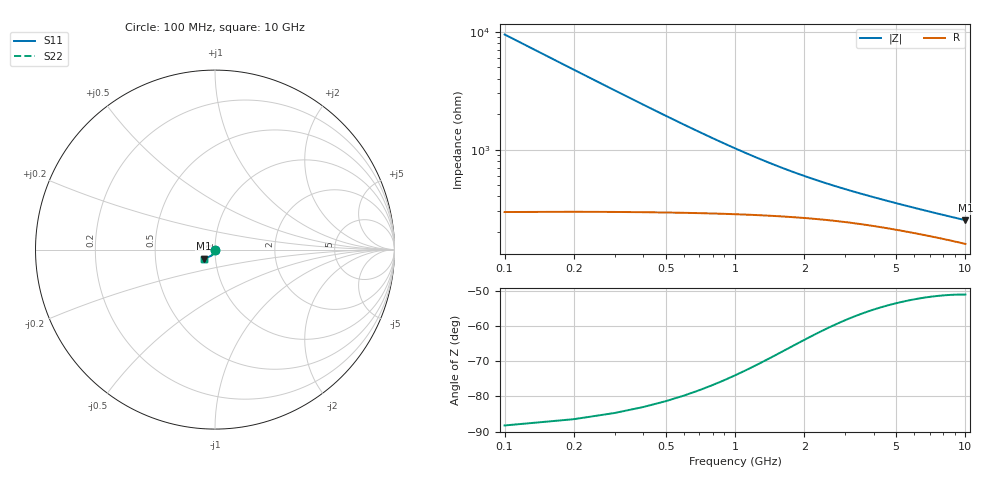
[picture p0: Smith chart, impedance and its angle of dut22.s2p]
! Touchstone file exported from HFSS 2024.1.0
!  File:  C:/UserFiles/LocalFiles/RDL_TSV_Batchsim/temp_TSV1_22_1778747200.aedt
!  Generated:  04:30:28 PM May 14, 2026
!  Design:  TSV1
!  Project:  temp_TSV1_22_1778747200
!  Setup:  Setup1
!  Solution:  Sweep
! Variables:
!  dtsv = 22.25um
!  hbump = 3um
!  htsv = 61.9um
!  lrdl = 252.1521522um
!  p = 40
!  p1 = 53.18um
!  t = 500um
!  trdl = 3um
!  wrdl = 24.89489489um
# GHz S MA R 50.000000
! Terminal data exported
! Port[1] = TSV22_T1
! Port[2] = TSV22_T2
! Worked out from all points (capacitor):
!   100 points, 100 MHz to 10 GHz, reference 50 ohm
!   read as one part in shunt: C = 167 fF near 100 MHz
!   lowest |Z| = 252 ohm at 10 GHz (marker M1)
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0.1  0.002392 -90.4  0.9998 -0.2  0.9998 -0.2  0.002392 -90.4
! Gamma 0 0 0 0
! Port Impedance 50 0 50 0
0.2  0.004772 -93.2  0.9996 -0.3  0.9996 -0.3  0.004772 -93.2
0.3  0.007131 -95.4  0.9991 -0.5  0.9991 -0.5  0.007131 -95.4
0.4  0.009458 -97.5  0.9986 -0.6  0.9986 -0.6  0.009458 -97.5
0.5  0.01174 -99.4  0.9978 -0.8  0.9978 -0.8  0.01174 -99.4
0.6  0.01397 -101.3  0.997 -0.9  0.997 -0.9  0.01397 -101.3
0.7  0.01614 -103.1  0.996 -1.1  0.996 -1.1  0.01614 -103.1
0.8  0.01824 -104.8  0.995 -1.2  0.995 -1.2  0.01824 -104.8
0.9  0.02026 -106.5  0.9939 -1.3  0.9939 -1.3  0.02026 -106.5
1.1  0.02408 -109.6  0.9916 -1.6  0.9916 -1.6  0.02408 -109.6
1.4  0.02924 -113.7  0.988 -1.9  0.988 -1.9  0.02924 -113.7
1.6  0.0323 -116.2  0.9856 -2.0  0.9856 -2.0  0.0323 -116.2
1.8  0.0351 -118.3  0.9833 -2.2  0.9833 -2.2  0.0351 -118.3
2.1  0.03886 -121.2  0.9799 -2.4  0.9799 -2.4  0.03886 -121.2
2.5  0.0432 -124.3  0.9758 -2.6  0.9758 -2.6  0.0432 -124.3
2.9  0.04694 -126.8  0.9721 -2.8  0.9721 -2.8  0.04694 -126.8
3.4  0.051 -129.3  0.968 -3.1  0.968 -3.1  0.051 -129.3
4.2  0.05651 -132.3  0.9624 -3.4  0.9624 -3.4  0.05651 -132.3
5.1  0.06173 -134.7  0.9572 -3.7  0.9572 -3.7  0.06173 -134.7
6.7  0.06929 -137.6  0.9497 -4.2  0.9497 -4.2  0.06929 -137.6
8.4  0.07569 -139.7  0.9435 -4.8  0.9435 -4.8  0.07569 -139.7
10  0.08068 -141.0  0.9388 -5.2  0.9388 -5.2  0.08068 -141.0
